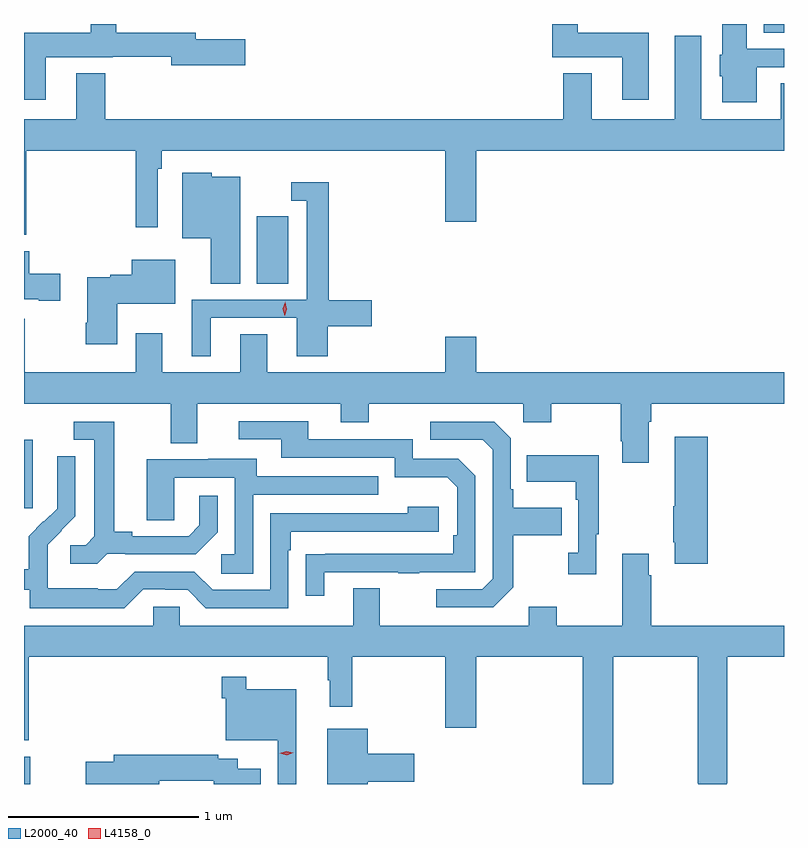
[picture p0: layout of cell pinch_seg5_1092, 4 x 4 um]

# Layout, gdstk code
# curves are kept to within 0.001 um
import gdstk
lib = gdstk.Library(unit=1e-6, precision=1e-09)
def R(c, l, rs):  # rectangles x0, y0, x1, y1
    for r in rs: c.add(gdstk.rectangle(r[:2], r[2:], *l))
def P(c, l, *ps):  # polygons
    for p in ps: c.add(gdstk.Polygon(p, *l))
L2000_40 = (2000, 40)
L4158_0 = (4158, 0)

pinch_seg5_1092 = lib.new_cell('pinch_seg5_1092')
R(pinch_seg5_1092, L2000_40, [(798.156,841.438,798.19,841.582), (798.156,842.889,798.202,843.25), (799.382,844.072,799.546,844.426), (802.049,845.392,802.156,845.438)])
P(pinch_seg5_1092, L2000_40, [(802.012,845.211),(802.156,845.211),(802.156,845.307),(801.96,845.307),(801.96,845.438),(801.83,845.438),(801.83,845.277),(801.818,845.277),(801.818,845.163),(801.83,845.163),(801.83,845.027),(802.012,845.027)],
  [(798.271,845.264),(798.624,845.264),(798.624,845.265),(798.932,845.265),(798.932,845.222),(799.321,845.222),(799.321,845.357),(799.06,845.357),(799.06,845.393),(798.641,845.393),(798.641,845.438),(798.506,845.438),(798.506,845.392),(798.156,845.392),(798.156,845.04),(798.271,845.04)],
  [(801.445,845.392),(801.07,845.392),(801.07,845.438),(800.936,845.438),(800.936,845.264),(801.305,845.264),(801.305,845.04),(801.445,845.04)],
  [(798.169,844.772),(798.745,844.772),(798.745,844.368),(798.861,844.368),(798.861,844.676),(798.881,844.676),(798.881,844.772),(800.372,844.772),(800.372,844.398),(800.536,844.398),(800.536,844.772),(802.156,844.772),(802.156,845.126),(802.139,845.126),(802.139,844.936),(801.721,844.936),(801.721,845.377),(801.581,845.377),(801.581,844.936),(801.145,844.936),(801.145,845.179),(800.993,845.179),(800.993,844.936),(798.584,844.936),(798.584,845.179),(798.431,845.179),(798.431,844.936),(798.156,844.936),(798.156,844.328),(798.169,844.328)],
  [(799.294,844.633),(799.143,844.633),(799.143,844.654),(798.989,844.654),(798.989,844.31),(799.139,844.31),(799.139,844.072),(799.294,844.072)],
  [(799.138,843.891),(799.592,843.891),(799.592,843.69),(799.754,843.69),(799.754,843.848),(799.987,843.848),(799.987,843.983),(799.76,843.983),(799.76,844.606),(799.563,844.606),(799.563,844.509),(799.644,844.509),(799.644,843.987),(799.04,843.987),(799.04,843.69),(799.138,843.69)],
  [(798.346,844.124),(798.184,844.124),(798.184,844.243),(798.156,844.243),(798.156,843.989),(798.233,843.989),(798.233,843.982),(798.346,843.982)],
  [(798.646,843.965),(798.952,843.965),(798.952,844.198),(798.722,844.198),(798.722,844.118),(798.609,844.118),(798.609,844.105),(798.488,844.105),(798.488,843.865),(798.481,843.865),(798.481,843.753),(798.646,843.753)],
  [(800.536,843.793),(800.372,843.793),(800.372,843.604),(799.435,843.604),(799.435,843.806),(799.295,843.806),(799.295,843.604),(798.883,843.604),(798.883,843.811),(798.743,843.811),(798.743,843.604),(798.161,843.604),(798.161,843.886),(798.156,843.886),(798.156,843.44),(798.929,843.44),(798.929,843.232),(799.069,843.232),(799.069,843.44),(799.823,843.44),(799.823,843.341),(799.971,843.341),(799.971,843.44),(800.784,843.44),(800.784,843.341),(800.931,843.341),(800.931,843.44),(801.298,843.44),(801.298,843.241),(801.305,843.241),(801.305,843.129),(801.445,843.129),(801.445,843.344),(801.458,843.344),(801.458,843.44),(802.156,843.44),(802.156,843.604),(800.536,843.604)],
  [(799.735,842.553),(800.125,842.553),(800.125,842.548),(800.237,842.548),(800.237,842.553),(800.532,842.553),(800.532,843.06),(800.442,843.15),(800.202,843.15),(800.202,843.252),(799.651,843.252),(799.651,843.348),(799.287,843.348),(799.287,843.252),(799.511,843.252),(799.511,843.156),(800.106,843.156),(800.106,843.053),(800.383,843.053),(800.436,843),(800.436,842.746),(800.416,842.746),(800.416,842.649),(799.639,842.648),(799.639,842.43),(799.735,842.43)],
  [(800.731,842.473),(800.731,842.746),(800.987,842.746),(800.987,842.893),(800.731,842.893),(800.731,842.989),(800.718,842.989),(800.718,843.258),(800.631,843.345),(800.295,843.345),(800.295,843.249),(800.571,843.249),(800.622,843.198),(800.622,842.517),(800.568,842.463),(800.325,842.463),(800.325,842.367),(800.625,842.367)],
  [(798.594,842.649),(798.688,842.649),(798.688,842.646),(799.06,842.646),(799.176,842.762),(799.176,842.956),(799.079,842.956),(799.079,842.799),(799.022,842.742),(798.727,842.742),(798.727,842.765),(798.631,842.765),(798.631,843.345),(798.417,843.345),(798.417,843.249),(798.527,843.249),(798.527,842.741),(798.48,842.694),(798.399,842.694),(798.399,842.597),(798.542,842.597)],
  [(801.754,843.265),(801.581,843.265),(801.581,842.899),(801.574,842.899),(801.574,842.71),(801.581,842.71),(801.581,842.598),(801.754,842.598)],
  [(801.169,842.753),(801.181,842.753),(801.181,843.169),(800.803,843.169),(800.803,843.029),(801.06,843.029),(801.06,842.933),(801.072,842.933),(801.072,842.654),(801.021,842.654),(801.021,842.541),(801.169,842.541)],
  [(798.783,842.463),(798.899,842.463),(798.899,842.46),(799.017,842.46),(799.113,842.364),(799.548,842.364),(799.548,842.669),(799.561,842.669),(799.561,842.766),(800.338,842.766),(800.338,842.896),(800.177,842.896),(800.177,842.862),(799.452,842.862),(799.452,842.46),(799.149,842.46),(799.053,842.556),(798.738,842.556),(798.645,842.463),(798.545,842.463),(798.545,842.467),(798.282,842.467),(798.282,842.601),(798.28,842.601),(798.28,842.698),(798.426,842.846),(798.426,843.164),(798.33,843.164),(798.33,843.01),(798.332,843.01),(798.332,842.888),(798.261,842.817),(798.258,842.82),(798.181,842.743),(798.181,842.569),(798.156,842.569),(798.156,842.46),(798.186,842.46),(798.186,842.363),(798.683,842.363)],
  [(799.362,842.961),(800.021,842.961),(800.021,843.057),(799.381,843.057),(799.381,843.151),(799.127,843.151),(799.127,843.147),(798.803,843.147),(798.803,842.827),(798.948,842.827),(798.948,843.051),(799.266,843.051),(799.266,842.646),(799.194,842.646),(799.194,842.545),(799.362,842.545)],
  [(801.098,841.438),(801.251,841.438),(801.251,841.441),(801.258,841.441),(801.258,842.108),(801.703,842.108),(801.703,841.441),(801.705,841.441),(801.705,841.438),(801.855,841.438),(801.855,841.441),(801.858,841.441),(801.858,842.108),(802.156,842.108),(802.156,842.272),(801.458,842.272),(801.458,842.537),(801.445,842.537),(801.445,842.65),(801.305,842.65),(801.305,842.272),(800.961,842.272),(800.961,842.371),(800.813,842.371),(800.813,842.272),(800.029,842.272),(800.029,842.467),(799.889,842.467),(799.889,842.272),(798.975,842.272),(798.975,842.37),(798.837,842.37),(798.837,842.272),(798.156,842.272),(798.156,841.667),(798.182,841.667),(798.182,842.108),(799.755,842.108),(799.755,841.985),(799.766,841.985),(799.766,841.845),(799.883,841.845),(799.883,842.108),(800.372,842.108),(800.372,841.734),(800.536,841.734),(800.536,842.108),(801.098,842.108)],
  [(799.588,841.936),(799.327,841.936),(799.327,842.002),(799.198,842.002),(799.198,841.889),(799.218,841.889),(799.218,841.667),(799.491,841.667),(799.491,841.438),(799.588,841.438)],
  [(799.966,841.451),(800.209,841.451),(800.209,841.598),(799.966,841.598),(799.966,841.729),(799.751,841.729),(799.751,841.438),(799.966,841.438)],
  [(798.868,841.456),(799.154,841.456),(799.154,841.438),(799.402,841.438),(799.402,841.519),(799.282,841.519),(799.282,841.572),(799.178,841.572),(799.178,841.592),(798.629,841.592),(798.629,841.556),(798.48,841.556),(798.48,841.438),(798.868,841.438)])
P(pinch_seg5_1092, L4158_0, [(799.528,843.902),(799.528,843.903),(799.519,843.939),(799.531,843.974),(799.531,843.975),(799.531,843.974),(799.539,843.938),(799.528,843.903)],
  [(799.538,841.59),(799.502,841.599),(799.502,841.599),(799.502,841.599),(799.537,841.61),(799.573,841.602),(799.573,841.602),(799.573,841.602)])

lib.write_gds('pinch_seg5_1092.gds')
